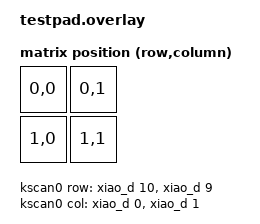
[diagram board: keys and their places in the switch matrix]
#include <dt-bindings/gpio/gpio.h>
#include <dt-bindings/zmk/matrix_transform.h>

/ {
    chosen {
        zmk,kscan = &kscan0;
        zmk,physical-layout = &physical_layout0;
    };

    kscan0: kscan0 {
        compatible = "zmk,kscan-gpio-matrix";

        /*
         * ASSUMPTION: diode direction is col2row.
         * If the PCB diodes are row2col, change this and the GPIO
         * active/pull configuration to match the physical diode direction.
         */
        diode-direction = "col2row";

        col-gpios
            = <&xiao_d 0 GPIO_ACTIVE_HIGH>  /* COL0: D0 */
            , <&xiao_d 1 GPIO_ACTIVE_HIGH>  /* COL1: D1 */
            ;

        row-gpios
            = <&xiao_d 10 (GPIO_ACTIVE_HIGH | GPIO_PULL_DOWN)> /* ROW0: D10 */
            , <&xiao_d 9  (GPIO_ACTIVE_HIGH | GPIO_PULL_DOWN)> /* ROW1: D9 */
            ;
    };

    default_transform: matrix_transform {
        compatible = "zmk,matrix-transform";
        columns = <2>;
        rows = <2>;
        map = <
            RC(0, 0) RC(0, 1)
            RC(1, 0) RC(1, 1)
        >;
    };

    physical_layout0: physical_layout_0 {
        compatible = "zmk,physical-layout";
        display-name = "2x2";
        kscan = <&kscan0>;
        transform = <&default_transform>;
    };
};
